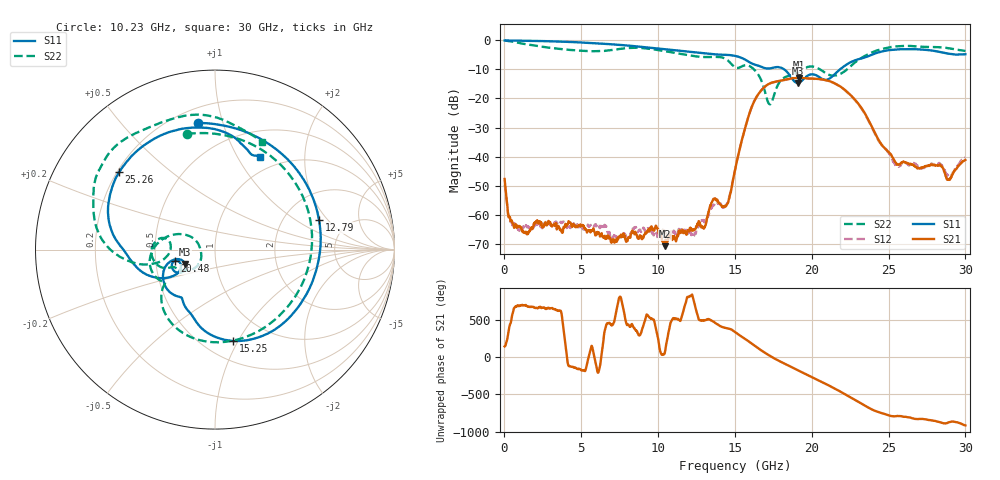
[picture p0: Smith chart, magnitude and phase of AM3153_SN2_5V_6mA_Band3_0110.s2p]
!Agilent Technologies,E8364B,MY43040894,A.07.50.67
!Agilent E8364B: A.07.50.67
!Date: Wednesday, May 13, 2020 06:21:56
!Correction: S11(Full 2 Port(1,2))
!S21(Full 2 Port(1,2))
!S12(Full 2 Port(1,2))
!S22(Full 2 Port(1,2))
!S2P File: Measurements: S11, S21, S12, S22:
# Hz S  dB  R 50
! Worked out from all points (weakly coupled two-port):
!   1601 points, 10 MHz to 30 GHz, reference 50 ohm
!   highest |S21| = -12.87 dB at 19.15 GHz (marker M1); lowest = -70.7 dB at 10.43 GHz (marker M2)
!   lowest |S11| = -14.7 dB at 19.09 GHz (marker M3), VSWR 1.45, Z = 35.4 - j5.87 ohm
!   |S11| at or under -10 dB: 18.2 GHz to 21.84 GHz (3.64 GHz wide, 18.2 % of centre)
!   |S22| runs from -22.0 to -0.1 dB; largest |S21 - S12| = 0.0053
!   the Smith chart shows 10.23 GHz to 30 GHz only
!   S11 on the Smith chart (normalised r, x): 10.23 GHz: 0.29, +0.83; 12.79 GHz: 3.11, +1.63; 15.25 GHz: 0.68, -0.95; 20.48 GHz: 0.63, -0.09; 25.26 GHz: 0.21, +0.34; 30 GHz: 0.82, +1.25
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1e7  -0.08 -2.0  -47.64 144.2  -49.58 -126.3  -0.08 -4.9
1.190856e9  -0.18 -34.1  -65.69 -26.4  -64.74 13.9  -1.20 -79.5
2.615381e9  -0.32 -73.3  -63.35 -60.8  -63.09 60.6  -2.36 -156.4
5.014581e9  -0.79 -134.1  -63.66 -175.3  -64.93 -171.3  -3.61 90.7
6.570312e9  -1.25 -171.2  -68.24 27.1  -64.06 115.1  -3.63 -3.4
7.713681e9  -1.69 161.7  -66.99 -47.1  -67.06 161.6  -2.85 -92.7
8.763331e9  -2.19 136.1  -67.87 -69.9  -65.38 96.2  -2.61 -171.2
1.001916e10  -2.83 103.3  -64.93 -134.8  -66.01 135.5  -3.39 114.5
1.022534e10  -2.95 97.6  -67.95 34.5  -66.37 150.5  -3.57 103.6
1.043152e10  -3.07 91.8  -70.71 55.3  -65.78 144.2  -3.76 92.8
1.279324e10  -4.40 16.0  -64.03 133.9  -62.40 128.4  -5.71 -29.2
1.5005e10  -5.37 -68.4  -44.39 -21.3  -44.71 -21.5  -9.30 -145.3
1.524867e10  -5.71 -78.9  -38.56 -59.4  -38.59 -58.5  -9.47 -147.5
1.663571e10  -8.95 -118.1  -17.71 101.2  -17.70 101.4  -12.87 157.6
1.729174e10  -9.67 -126.4  -14.77 15.1  -14.82 15.1  -22.00 -167.7
1.909114e10  -14.70 -154.2  -12.87 -175.5  -12.95 -174.9  -10.97 -158.7
1.914737e10  -14.64 -151.8  -12.87 178.8  -12.95 179.4  -10.78 -159.1
2.000958e10  -11.72 -155.5  -13.19 93.4  -13.23 94.4  -9.00 -178.3
2.047818e10  -12.61 -164.1  -13.32 46.9  -13.37 47.9  -9.84 169.7
2.501416e10  -3.42 147.0  -38.50 -59.5  -38.76 -54.4  -2.49 154.2
2.525783e10  -3.27 141.1  -40.15 -71.5  -41.11 -69.3  -2.22 149.2
3e10  -4.82 63.8  -41.12 165.1  -40.39 162.9  -3.69 66.3
